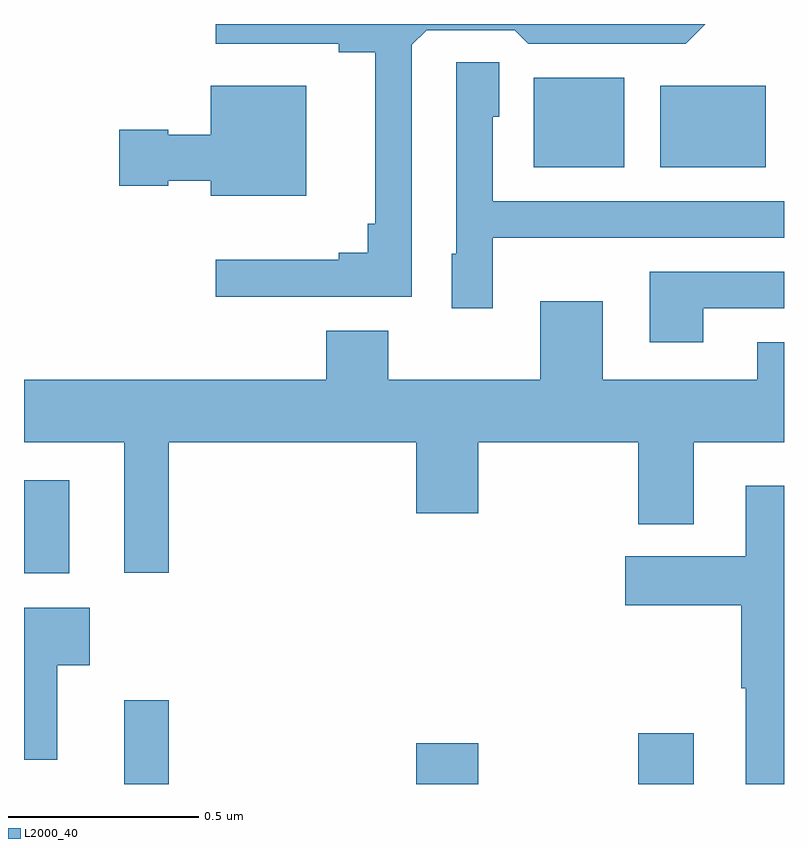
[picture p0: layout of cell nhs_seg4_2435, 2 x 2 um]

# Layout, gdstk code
import gdstk
lib = gdstk.Library(unit=1e-6, precision=1e-09)
def R(c, l, rs):  # rectangles x0, y0, x1, y1
    for r in rs: c.add(gdstk.rectangle(r[:2], r[2:], *l))
def P(c, l, *ps):  # polygons
    for p in ps: c.add(gdstk.Polygon(p, *l))
L2000_40 = (2000, 40)

nhs_seg4_2435 = lib.new_cell('nhs_seg4_2435')
R(nhs_seg4_2435, L2000_40, [(140.264,815.9,140.381,816.121), (141.032,815.9,141.196,816.007), (141.616,815.9,141.763,816.034), (140,816.455,140.119,816.7), (141.341,817.523,141.58,817.759), (141.674,817.523,141.952,817.738)])
P(nhs_seg4_2435, L2000_40, [(141.021,817.845),(141.06,817.884),(141.291,817.884),(141.327,817.848),(141.741,817.848),(141.793,817.9),(140.505,817.9),(140.505,817.848),(140.828,817.848),(140.828,817.826),(140.924,817.826),(140.924,817.375),(140.905,817.375),(140.905,817.298),(140.828,817.298),(140.828,817.279),(140.505,817.279),(140.505,817.182),(141.021,817.182)],
  [(141.234,817.337),(141.551,817.337),(141.551,817.338),(142,817.338),(142,817.434),(141.234,817.434),(141.234,817.656),(141.25,817.656),(141.25,817.799),(141.138,817.799),(141.138,817.296),(141.125,817.296),(141.125,817.152),(141.234,817.152)],
  [(140.743,817.738),(140.492,817.738),(140.492,817.609),(140.379,817.609),(140.379,817.622),(140.25,817.622),(140.25,817.475),(140.379,817.475),(140.379,817.487),(140.492,817.487),(140.492,817.448),(140.743,817.448)],
  [(141.787,817.152),(142,817.152),(142,817.248),(141.647,817.248),(141.647,817.062),(141.787,817.062)],
  [(140.381,816.8),(141.032,816.8),(141.032,816.612),(141.196,816.612),(141.196,816.8),(141.616,816.8),(141.616,816.584),(141.763,816.584),(141.763,816.8),(142,816.8),(142,817.063),(141.929,817.063),(141.929,816.964),(141.523,816.964),(141.523,817.171),(141.359,817.171),(141.359,816.964),(140.959,816.964),(140.959,817.093),(140.795,817.093),(140.795,816.964),(140,816.964),(140,816.8),(140.264,816.8),(140.264,816.456),(140.381,816.456)],
  [(142,816.685),(141.899,816.685),(141.899,816.499),(141.582,816.499),(141.582,816.37),(141.887,816.37),(141.887,816.152),(141.899,816.152),(141.899,815.9),(142,815.9)],
  [(140.087,816.212),(140.173,816.212),(140.173,816.364),(140,816.364),(140,815.964),(140.087,815.964)])

lib.write_gds('nhs_seg4_2435.gds')
